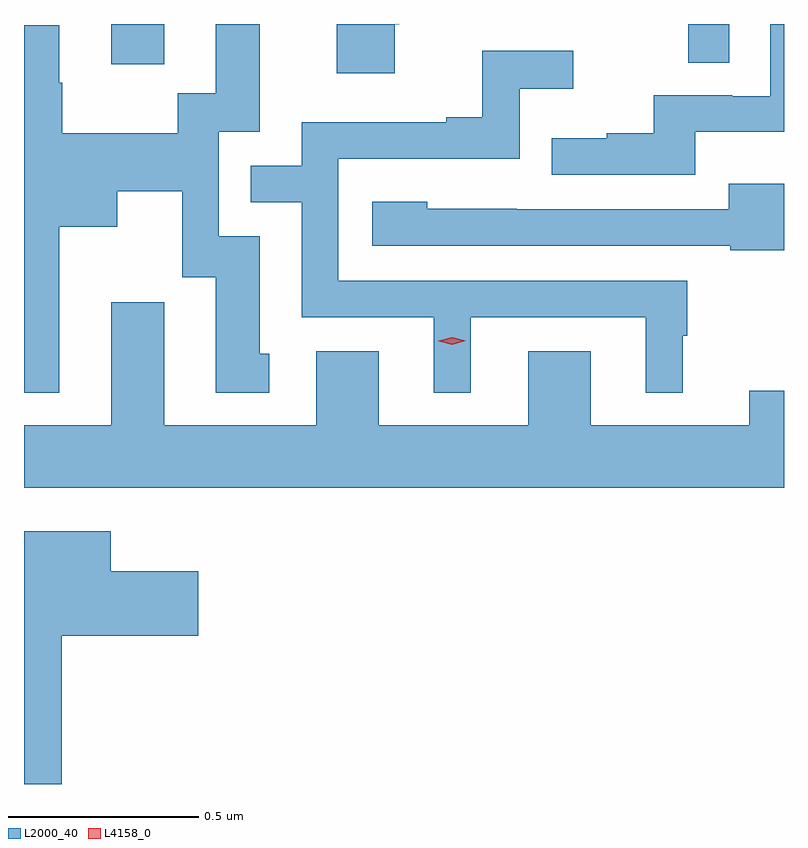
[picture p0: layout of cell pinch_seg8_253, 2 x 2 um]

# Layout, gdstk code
import gdstk
lib = gdstk.Library(unit=1e-6, precision=1e-09)
def R(c, l, rs):  # rectangles x0, y0, x1, y1
    for r in rs: c.add(gdstk.rectangle(r[:2], r[2:], *l))
def P(c, l, *ps):  # polygons
    for p in ps: c.add(gdstk.Polygon(p, *l))
L2000_40 = (2000, 40)
L4158_0 = (4158, 0)

pinch_seg8_253 = lib.new_cell('pinch_seg8_253')
R(pinch_seg8_253, L2000_40, [(822.383,1085.646,822.523,1085.752), (823.902,1085.65,824.01,1085.752)])
P(pinch_seg8_253, L2000_40, [(822.247,1085.219),(822.4,1085.219),(822.4,1085.312),(822.57,1085.312),(822.57,1085.085),(822.659,1085.085),(822.659,1084.782),(822.799,1084.782),(822.799,1084.884),(822.775,1084.884),(822.775,1085.193),(822.666,1085.193),(822.666,1085.469),(822.775,1085.469),(822.775,1085.752),(822.659,1085.752),(822.659,1085.57),(822.558,1085.57),(822.558,1085.464),(822.255,1085.464),(822.255,1085.598),(822.247,1085.598),(822.247,1085.749),(822.154,1085.749),(822.154,1084.781),(822.247,1084.781)],
  [(823.921,1085.468),(824.154,1085.468),(824.154,1085.752),(824.118,1085.752),(824.118,1085.562),(824.018,1085.562),(824.018,1085.565),(823.811,1085.565),(823.811,1085.464),(823.687,1085.464),(823.687,1085.452),(823.543,1085.452),(823.543,1085.355),(823.921,1085.355)],
  [(823.129,1085.751),(823.142,1085.751),(823.142,1085.752),(822.977,1085.752),(822.977,1085.622),(823.129,1085.622)],
  [(823.33,1084.98),(823.79,1084.98),(823.79,1084.781),(823.888,1084.781),(823.888,1084.932),(823.9,1084.932),(823.9,1085.076),(822.981,1085.076),(822.981,1085.397),(823.458,1085.397),(823.458,1085.582),(823.6,1085.582),(823.6,1085.681),(823.36,1085.681),(823.36,1085.506),(823.265,1085.506),(823.265,1085.493),(822.885,1085.493),(822.885,1085.379),(822.751,1085.379),(822.751,1085.283),(822.885,1085.283),(822.885,1084.98),(823.232,1084.98),(823.232,1084.781),(823.33,1084.781)],
  [(824.154,1085.332),(824.009,1085.332),(824.009,1085.265),(823.451,1085.265),(823.451,1085.266),(823.215,1085.266),(823.215,1085.284),(823.071,1085.284),(823.071,1085.169),(824.013,1085.169),(824.013,1085.157),(824.154,1085.157)],
  [(824.154,1084.787),(824.063,1084.787),(824.063,1084.696),(823.645,1084.696),(823.645,1084.891),(823.481,1084.891),(823.481,1084.696),(823.087,1084.696),(823.087,1084.891),(822.923,1084.891),(822.923,1084.696),(822.523,1084.696),(822.523,1085.02),(822.383,1085.02),(822.383,1084.696),(822.154,1084.696),(822.154,1084.532),(824.154,1084.532)],
  [(822.253,1084.142),(822.613,1084.142),(822.613,1084.312),(822.382,1084.312),(822.382,1084.417),(822.154,1084.417),(822.154,1083.752),(822.253,1083.752)])
P(pinch_seg8_253, L4158_0, [(823.281,1084.908),(823.246,1084.917),(823.245,1084.918),(823.246,1084.918),(823.281,1084.928),(823.316,1084.919),(823.317,1084.919),(823.316,1084.919)])

lib.write_gds('pinch_seg8_253.gds')
